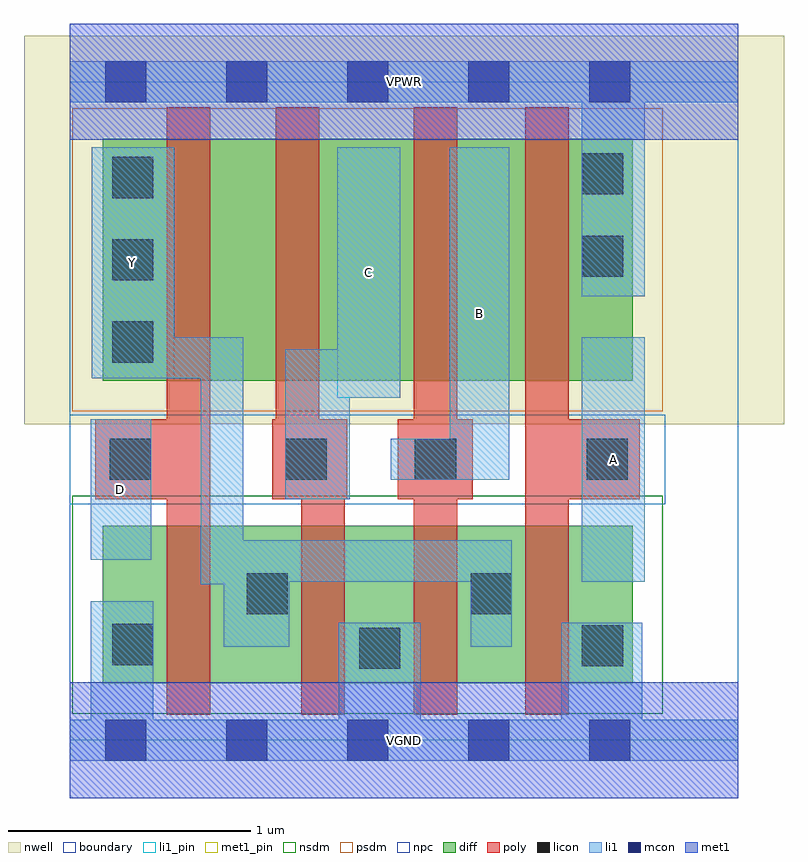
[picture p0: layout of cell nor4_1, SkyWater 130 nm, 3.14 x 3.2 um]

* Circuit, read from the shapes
.subckt nor4_1 A B C D VGND VPWR Y
XM1 Y D VGND VSUBS sky130_fd_pr__nfet_01v8 w=0.65 l=0.18
XM2 VGND C Y VSUBS sky130_fd_pr__nfet_01v8 w=0.65 l=0.18
XM3 Y B VGND VSUBS sky130_fd_pr__nfet_01v8 w=0.65 l=0.18
XM4 VGND A Y VSUBS sky130_fd_pr__nfet_01v8 w=0.65 l=0.18
XM5 n1 D Y n2 sky130_fd_pr__pfet_01v8 w=1 l=0.18
XM6 n3 C n1 n2 sky130_fd_pr__pfet_01v8 w=1 l=0.18
XM7 n4 B n3 n2 sky130_fd_pr__pfet_01v8 w=1 l=0.18
XM8 VPWR A n4 n2 sky130_fd_pr__pfet_01v8 w=1 l=0.18
.ends

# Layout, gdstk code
import gdstk
lib = gdstk.Library(unit=1e-6, precision=1e-09)
def R(c, l, rs):  # rectangles x0, y0, x1, y1
    for r in rs: c.add(gdstk.rectangle(r[:2], r[2:], *l))
def A(c, l, x, y, w, h, nx, ny, dx, dy):  # array of equal rectangles
    R(c, l, [(x+i*dx, y+j*dy, x+i*dx+w, y+j*dy+h) for i in range(nx) for j in range(ny)])
nwell = (64, 20)
diff = (65, 20)
poly = (66, 20)
licon = (66, 44)
li1_pin = (67, 16)
li1 = (67, 20)
mcon = (67, 44)
met1_pin = (68, 16)
met1 = (68, 20)
nsdm = (93, 44)
psdm = (94, 20)
npc = (95, 20)
boundary = (235, 4)

nor4_1 = lib.new_cell('nor4_1')
R(nor4_1, nwell, [(-0.19,1.305,2.95,2.91), (0,1.305,2.76,2.91)])
R(nor4_1, diff, [(0.135,0.235,2.325,0.885), (0.135,1.485,2.325,2.485)])
R(nor4_1, poly, [(0.4,0.105,0.58,2.615), (0.955,0.105,1.135,1.325), (1.42,0.105,1.6,2.615), (1.88,0.105,2.06,2.615), (0.105,0.995,0.58,1.325), (0.835,0.995,1.145,1.325), (0.85,0.995,1.03,2.615), (1.355,0.995,1.665,1.325), (1.88,0.995,2.355,1.325)])
A(nor4_1, licon, 0.175, 1.56, 0.17, 0.17, 1, 3, 0, 0.34)
R(nor4_1, licon, [(1.195,0.295,1.365,0.465), (2.115,0.305,2.285,0.475), (0.175,0.31,0.345,0.48), (0.73,0.52,0.9,0.69), (1.655,0.52,1.825,0.69), (0.165,1.075,0.335,1.245), (0.89,1.075,1.06,1.245), (1.425,1.075,1.595,1.245), (2.135,1.075,2.305,1.245), (2.115,1.915,2.285,2.085), (2.115,2.255,2.285,2.425)])
R(nor4_1, li1_pin, [(2.115,0.655,2.375,1.665), (0.085,0.745,0.335,1.325), (1.57,1.075,1.815,2.45), (1.105,1.415,1.365,2.45), (0.09,1.495,0.43,2.45)])
R(nor4_1, li1, [(0,-0.085,2.76,0.085), (0.085,-0.085,0.345,0.575), (1.11,-0.085,1.45,0.485), (2.03,-0.085,2.365,0.485), (0.635,0.385,0.905,0.825), (1.655,0.385,1.825,0.825), (0.54,0.645,0.715,1.665), (0.54,0.655,1.825,0.825), (2.115,0.655,2.375,1.665), (0.085,0.745,0.335,1.325), (0.89,0.995,1.155,1.615), (1.325,1.075,1.815,1.245), (1.57,1.075,1.815,2.45), (1.105,1.415,1.365,2.45), (0.09,1.495,0.43,2.45), (0.09,1.495,0.715,1.665), (2.115,1.835,2.375,2.805), (0,2.635,2.76,2.805)])
A(nor4_1, mcon, 0.145, -0.085, 0.17, 0.17, 5, 2, 0.5, 2.72)
R(nor4_1, met1_pin, [(0,-0.24,2.76,0.24), (0,2.48,2.76,2.96)])
R(nor4_1, met1, [(0,-0.24,2.76,0.24), (0,2.48,2.76,2.96)])
R(nor4_1, nsdm, [(0.01,0.11,2.45,1.01)])
R(nor4_1, psdm, [(0.01,1.36,2.45,2.61)])
R(nor4_1, npc, [(0,0.975,2.46,1.345)])
R(nor4_1, boundary, [(0,0,2.76,2.72)])
nor4_1.add(gdstk.Label('A', (2.245,1.16), layer=67, texttype=5))
nor4_1.add(gdstk.Label('B', (1.692,1.762), layer=67, texttype=5))
nor4_1.add(gdstk.Label('C', (1.235,1.932), layer=67, texttype=5))
nor4_1.add(gdstk.Label('D', (0.21,1.035), layer=67, texttype=5))
nor4_1.add(gdstk.Label('Y', (0.26,1.972), layer=67, texttype=5))
nor4_1.add(gdstk.Label('VPWR', (1.38,2.72), layer=68, texttype=5))
nor4_1.add(gdstk.Label('VGND', (1.38,0), layer=68, texttype=5))
nor4_1.add(gdstk.Label('A', (2.245,1.16), layer=67, texttype=16))
nor4_1.add(gdstk.Label('B', (1.692,1.762), layer=67, texttype=16))
nor4_1.add(gdstk.Label('C', (1.235,1.932), layer=67, texttype=16))
nor4_1.add(gdstk.Label('D', (0.21,1.035), layer=67, texttype=16))
nor4_1.add(gdstk.Label('Y', (0.26,1.972), layer=67, texttype=16))
nor4_1.add(gdstk.Label('VPWR', (1.38,2.72), layer=68, texttype=16))
nor4_1.add(gdstk.Label('VGND', (1.38,0), layer=68, texttype=16))

lib.write_gds('nor4_1.gds')
